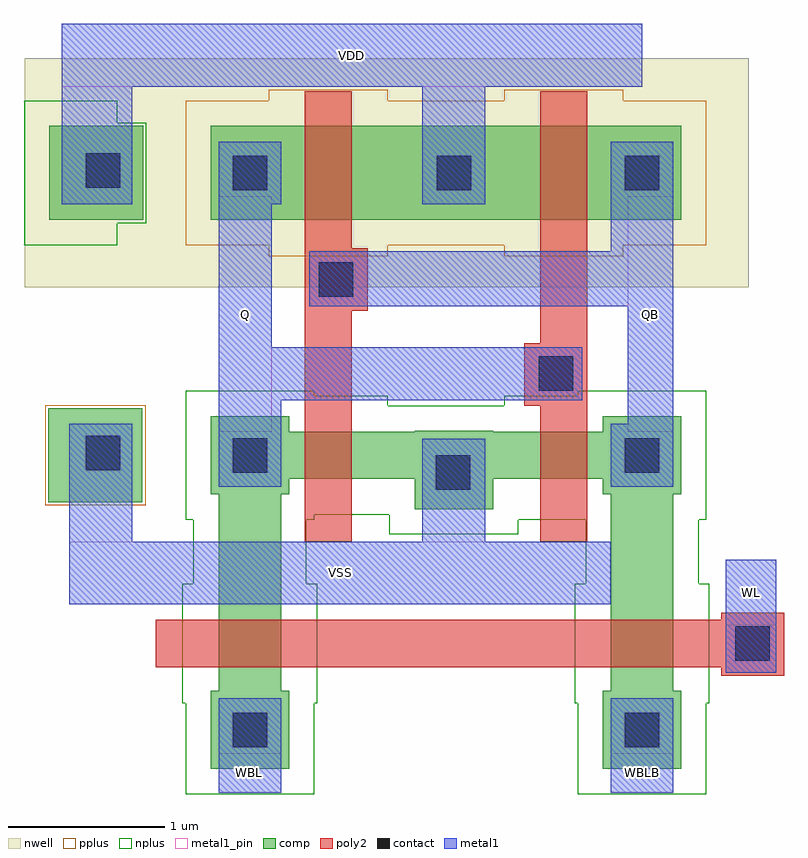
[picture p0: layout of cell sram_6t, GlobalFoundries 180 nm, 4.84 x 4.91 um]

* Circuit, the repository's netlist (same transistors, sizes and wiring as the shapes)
* Extracted by KLayout with GF180MCU LVS runset on : 04/08/2026 03:06

* cell sram_6t
* pin Q
* pin QB
* pin VDD
* pin VSS
* pin WBL
* pin WBLB
* pin WL
.SUBCKT sram_6t Q QB VDD VSS WBL WBLB WL
* device instance $1 r0 *1 0.15,2.45 pfet_03v3
M$1 VDD QB Q VDD pfet_03v3 L=0.3U W=0.6U AS=0.36P AD=0.36P PS=2.4U PD=1.8U
* device instance $2 r0 *1 1.65,2.45 pfet_03v3
M$2 QB Q VDD VDD pfet_03v3 L=0.3U W=0.6U AS=0.36P AD=0.36P PS=1.8U PD=2.4U
* device instance $3 r0 *1 -0.35,-0.55 nfet_03v3
M$3 Q WL WBL VSS nfet_03v3 L=0.3U W=0.4U AS=0.31P AD=0.3P PS=2.3U PD=1.9U
* device instance $4 r0 *1 2.15,-0.55 nfet_03v3
M$4 QB WL WBLB VSS nfet_03v3 L=0.3U W=0.4U AS=0.31P AD=0.3P PS=2.3U PD=1.9U
* device instance $5 r0 *1 0.15,0.65 nfet_03v3
M$5 VSS QB Q VSS nfet_03v3 L=0.3U W=0.3U AS=0.3P AD=0.23P PS=1.9U PD=1.7U
* device instance $6 r0 *1 1.65,0.65 nfet_03v3
M$6 VSS Q QB VSS nfet_03v3 L=0.3U W=0.3U AS=0.3P AD=0.23P PS=1.9U PD=1.7U
.ENDS sram_6t

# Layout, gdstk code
import gdstk
lib = gdstk.Library(unit=1e-6, precision=1e-09)
def R(c, l, rs):  # rectangles x0, y0, x1, y1
    for r in rs: c.add(gdstk.rectangle(r[:2], r[2:], *l))
nwell = (21, 0)
comp = (22, 0)
poly2 = (30, 0)
pplus = (31, 0)
nplus = (32, 0)
contact = (33, 0)
metal1 = (34, 0)
metal1_pin = (34, 10)

sram_6t = lib.new_cell('sram_6t')
R(sram_6t, nwell, [(-1.785,1.72,2.83,3.18)])
R(sram_6t, comp, [(-0.6,-1.35,-0.1,-0.85), (1.9,-1.35,2.4,-0.85), (-0.55,-0.85,-0.15,0.4), (1.95,-0.85,2.35,0.4), (0.7,0.305,1.2,0.5), (-1.635,0.35,-1.035,0.95), (-0.6,0.4,-0.1,0.5), (1.9,0.4,2.4,0.5), (-0.6,0.5,2.4,0.8), (-0.6,0.8,-0.1,0.9), (0.7,0.8,1.2,0.805), (1.9,0.8,2.4,0.9), (-1.63,2.15,-1.03,2.75), (-0.6,2.15,2.4,2.75)])
R(sram_6t, poly2, [(2.655,-0.755,3.055,-0.7), (-0.95,-0.7,3.055,-0.4), (2.655,-0.4,3.055,-0.355), (0,0.1,0.3,1.57), (1.5,0.1,1.8,0.965), (1.4,0.965,1.8,1.365), (1.5,1.365,1.8,2.97), (0,1.57,0.4,1.97), (0,1.97,0.3,2.97)])
R(sram_6t, pplus, [(-1.655,0.33,-1.015,0.97), (-0.23,1.92,0.53,1.99), (1.27,1.92,2.03,1.99), (-0.76,1.99,2.56,2.91), (-0.23,2.91,0.53,2.98), (1.27,2.91,2.03,2.98)])
R(sram_6t, nplus, [(-0.76,-1.51,0.06,-0.93), (1.74,-1.51,2.56,-0.93), (-0.78,-0.93,0.08,-0.17), (1.72,-0.93,2.58,-0.17), (-0.71,-0.17,0.01,0.24), (1.79,-0.17,2.51,0.24), (0.54,0.145,1.36,0.24), (-0.76,0.24,0.06,0.27), (0.54,0.24,2.56,0.27), (-0.76,0.27,2.56,0.965), (-0.76,0.965,0.53,1.03), (1.27,0.965,2.56,1.03), (-0.76,1.03,0.06,1.06), (1.74,1.03,2.56,1.06), (-1.79,1.99,-1.195,2.13), (-1.79,2.13,-1.01,2.77), (-1.79,2.77,-1.195,2.91)])
R(sram_6t, contact, [(-0.46,-1.21,-0.24,-0.99), (2.04,-1.21,2.26,-0.99), (2.745,-0.66,2.965,-0.44), (0.835,0.43,1.055,0.65), (-0.46,0.54,-0.24,0.76), (2.04,0.54,2.26,0.76), (-1.395,0.555,-1.175,0.775), (1.49,1.06,1.71,1.28), (0.09,1.66,0.31,1.88), (-0.46,2.34,-0.24,2.56), (0.84,2.34,1.06,2.56), (2.04,2.34,2.26,2.56), (-1.395,2.355,-1.175,2.575)])
R(sram_6t, metal1, [(-0.55,-1.5,-0.15,-0.9), (1.95,-1.5,2.35,-0.9), (2.685,-0.735,3.005,-0.015), (-1.5,-0.3,1.95,0.1), (-1.5,0.1,-1.1,0.85), (0.75,0.1,1.15,0.755), (-0.55,0.45,-0.15,1), (1.95,0.45,2.35,0.85), (2.06,0.85,2.35,1.6), (-0.55,1,1.77,1.34), (-0.55,1.34,-0.21,2.25), (0.03,1.6,2.35,1.95), (1.95,1.95,2.35,2.65), (-1.55,2.25,-1.1,3), (-0.55,2.25,-0.15,2.65), (0.75,2.25,1.15,3), (-1.55,3,2.15,3.4)])
R(sram_6t, metal1_pin, [(-0.55,-1.5,-0.15,-1.25), (1.95,-1.5,2.35,-1.25), (2.685,-0.435,3.005,-0.015), (-1.5,-0.3,1.95,0.1), (-0.55,0.8,-0.21,2.3), (2.06,0.8,2.35,2.3), (-1.55,3,2.15,3.4)])
sram_6t.add(gdstk.Label('Q', (-0.38,1.55), layer=34, texttype=10))
sram_6t.add(gdstk.Label('QB', (2.205,1.55), layer=34, texttype=10))
sram_6t.add(gdstk.Label('WL', (2.845,-0.225), layer=34, texttype=10))
sram_6t.add(gdstk.Label('VDD', (0.3,3.2), layer=34, texttype=10))
sram_6t.add(gdstk.Label('VSS', (0.225,-0.1), layer=34, texttype=10))
sram_6t.add(gdstk.Label('WBL', (-0.35,-1.375), layer=34, texttype=10))
sram_6t.add(gdstk.Label('WBLB', (2.15,-1.375), layer=34, texttype=10))

lib.write_gds('sram_6t.gds')
